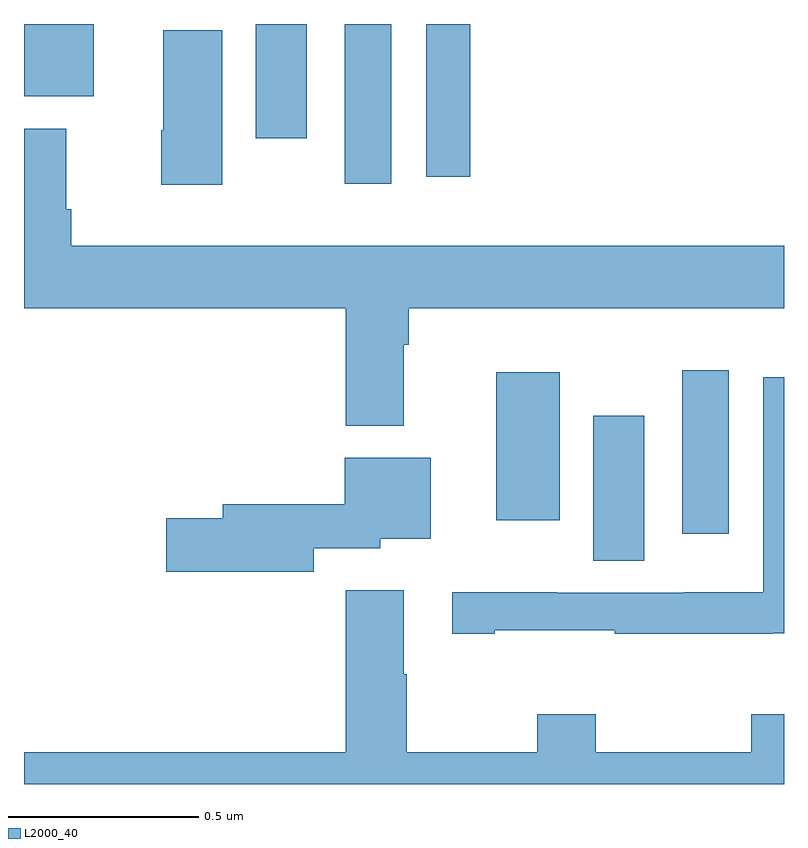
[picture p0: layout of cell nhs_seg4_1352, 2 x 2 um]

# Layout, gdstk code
import gdstk
lib = gdstk.Library(unit=1e-6, precision=1e-09)
def R(c, l, rs):  # rectangles x0, y0, x1, y1
    for r in rs: c.add(gdstk.rectangle(r[:2], r[2:], *l))
def P(c, l, *ps):  # polygons
    for p in ps: c.add(gdstk.Polygon(p, *l))
L2000_40 = (2000, 40)

nhs_seg4_1352 = lib.new_cell('nhs_seg4_1352')
R(nhs_seg4_1352, L2000_40, [(128.498,797.488,128.632,797.869), (128.732,797.559,128.854,797.989), (128.243,797.594,128.41,797.983), (127.844,798.48,127.966,798.9), (128.058,798.498,128.174,798.9), (127.61,798.6,127.744,798.9), (127,798.71,127.183,798.9)])
P(nhs_seg4_1352, L2000_40, [(127.522,798.883),(127.367,798.883),(127.367,798.621),(127.361,798.621),(127.361,798.477),(127.522,798.477)],
  [(127.999,798.056),(128.012,798.056),(128.012,798.152),(129,798.152),(129,798.316),(127.124,798.316),(127.124,798.412),(127.111,798.412),(127.111,798.625),(127,798.625),(127,798.152),(127.847,798.152),(127.847,797.843),(127.999,797.843)],
  [(128.239,797.305),(128.555,797.305),(128.555,797.295),(128.97,797.295),(128.97,797.297),(129,797.297),(129,797.971),(128.946,797.971),(128.946,797.404),(128.736,797.404),(128.736,797.403),(128.402,797.403),(128.402,797.405),(128.127,797.405),(128.127,797.295),(128.239,797.295)],
  [(127.762,797.52),(127.938,797.52),(127.938,797.546),(128.071,797.546),(128.071,797.758),(127.844,797.758),(127.844,797.636),(127.523,797.636),(127.523,797.6),(127.374,797.6),(127.374,797.458),(127.762,797.458)],
  [(129,797.083),(128.914,797.083),(128.914,796.984),(128.505,796.984),(128.505,797.083),(128.35,797.083),(128.35,796.984),(128.007,796.984),(128.007,797.189),(127.999,797.189),(127.999,797.41),(127.847,797.41),(127.847,796.984),(127,796.984),(127,796.9),(129,796.9)])

lib.write_gds('nhs_seg4_1352.gds')
